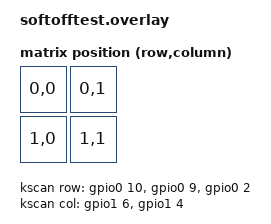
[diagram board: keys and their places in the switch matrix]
/*
 * Copyright (c) 2020 The ZMK Contributors
 *
 * SPDX-License-Identifier: MIT
 */

#include <dt-bindings/zmk/matrix_transform.h>

/ {
    chosen {
        zmk,kscan = &wrapped_kscan;
        zmk,matrix_transform = &default_transform;
    };


	default_transform: keymap_transform_0 {
		compatible = "zmk,matrix-transform";
		columns = <2>;
		rows = <2>;
		map = <
			RC(0,0)	RC(0,1)
			RC(1,0)	RC(1,1)	
			>;
	};

    behaviors {
        hw_soft_off: hw_soft_off {
            compatible = "zmk,behavior-soft-off";
            #binding-cells = <0>;
            hold-time-ms = <2000>;
        };
    };

    keys {
        compatible = "gpio-keys";
        status = "okay";
        wakeup_key: wakeup_key {
            gpios = <&gpio0 2 (GPIO_ACTIVE_HIGH | GPIO_PULL_DOWN)>;
        };
    };

    wakeup_source: wakeup_source {
        compatible = "zmk,gpio-key-wakeup-trigger";
        status = "okay";
        trigger = <&wakeup_key>;
        wakeup-source;
        extra-gpios = <&gpio0 17 GPIO_ACTIVE_HIGH>;
    };

    kscan: kscan {
        compatible = "zmk,kscan-gpio-matrix";
        diode-direction = "col2row";
        wakeup-source;
        debounce-press-ms = <1>;
        debounce-release-ms = <5>;
        col-gpios
            = <&gpio1 6 GPIO_ACTIVE_HIGH>
            , <&gpio1 4 GPIO_ACTIVE_HIGH>
            ;

        row-gpios
            = <&gpio0 10 (GPIO_ACTIVE_HIGH | GPIO_PULL_DOWN)>
            , <&gpio0 9 (GPIO_ACTIVE_HIGH | GPIO_PULL_DOWN)>
            , <&gpio0 2 (GPIO_ACTIVE_HIGH | GPIO_PULL_DOWN)>
            ;
    };

    wrapped_kscan: side_band_behavior_triggers {
        compatible = "zmk,kscan-sideband-behaviors";
        wakeup-source;
        kscan = <&kscan>;
        soft_off_callback {
            column = <1>;
            row = <2>;
            bindings = <&hw_soft_off>;
        };
    };

    soft_off_wakers {
        compatible = "zmk,soft-off-wakeup-sources";
        wakeup-sources = <&wakeup_source>;
    };
};

